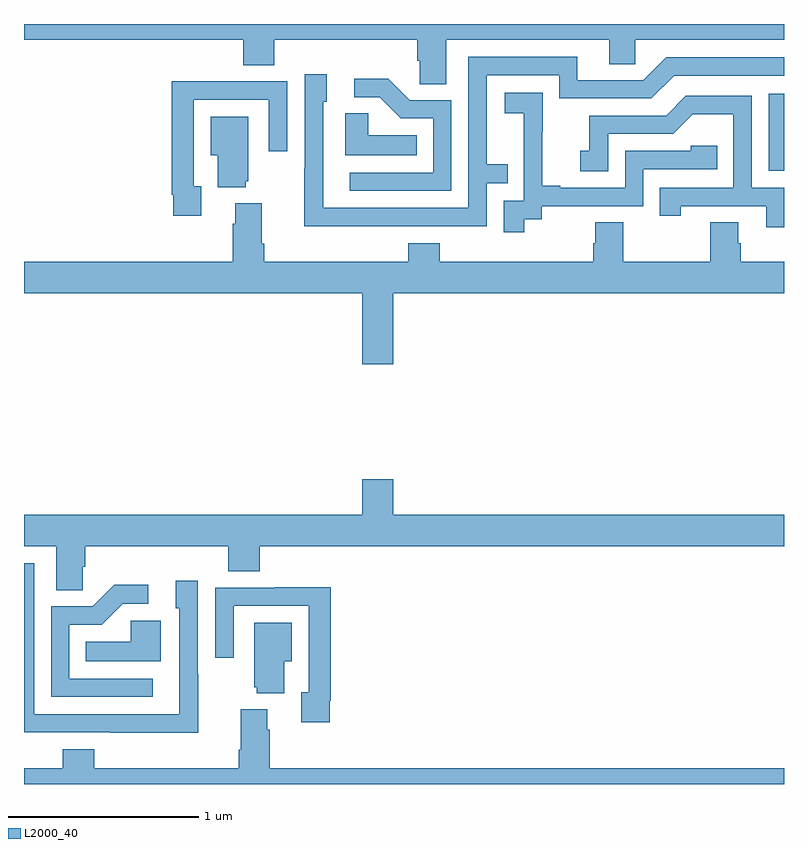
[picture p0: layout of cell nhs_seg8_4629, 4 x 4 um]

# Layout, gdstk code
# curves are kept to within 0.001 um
import gdstk
lib = gdstk.Library(unit=1e-6, precision=1e-09)
def R(c, l, rs):  # rectangles x0, y0, x1, y1
    for r in rs: c.add(gdstk.rectangle(r[:2], r[2:], *l))
def P(c, l, *ps):  # polygons
    for p in ps: c.add(gdstk.Polygon(p, *l))
L2000_40 = (2000, 40)

nhs_seg8_4629 = lib.new_cell('nhs_seg8_4629')
R(nhs_seg8_4629, L2000_40, [(394.92,1133.127,395,1133.533)])
P(nhs_seg8_4629, L2000_40, [(393.223,1133.816),(394.079,1133.816),(394.079,1133.689),(394.218,1133.689),(394.218,1133.816),(395,1133.816),(395,1133.9),(391,1133.9),(391,1133.816),(392.153,1133.816),(392.153,1133.683),(392.318,1133.683),(392.318,1133.816),(393.071,1133.816),(393.071,1133.707),(393.084,1133.707),(393.084,1133.584),(393.223,1133.584)],
  [(392.939,1132.836),(393.435,1132.836),(393.435,1133.061),(393.545,1133.061),(393.545,1133.162),(393.435,1133.162),(393.435,1133.631),(393.816,1133.631),(393.816,1133.508),(394.302,1133.508),(394.422,1133.628),(395,1133.628),(395,1133.724),(394.38,1133.724),(394.26,1133.604),(393.913,1133.604),(393.913,1133.727),(393.339,1133.727),(393.339,1132.932),(392.574,1132.932),(392.574,1133.49),(392.593,1133.49),(392.593,1133.635),(392.478,1133.635),(392.478,1133.141),(392.476,1133.141),(392.476,1132.835)],
  [(393.249,1133.499),(393.03,1133.499),(392.917,1133.612),(392.739,1133.612),(392.739,1133.514),(392.873,1133.514),(392.984,1133.403),(393.153,1133.403),(393.153,1133.118),(392.715,1133.118),(392.715,1133.022),(393.249,1133.022)],
  [(391.933,1133.046),(391.893,1133.046),(391.893,1133.502),(392.289,1133.502),(392.289,1133.229),(392.385,1133.229),(392.385,1133.598),(392.069,1133.598),(392.069,1133.6),(391.777,1133.6),(391.777,1133.002),(391.785,1133.002),(391.785,1132.89),(391.933,1132.89)],
  [(393.634,1132.873),(393.726,1132.873),(393.726,1132.941),(394.26,1132.941),(394.26,1133.136),(394.649,1133.136),(394.649,1133.259),(394.509,1133.259),(394.509,1133.232),(394.164,1133.232),(394.164,1133.037),(393.823,1133.037),(393.823,1133.05),(393.728,1133.05),(393.728,1133.333),(393.729,1133.333),(393.729,1133.539),(393.531,1133.539),(393.531,1133.429),(393.629,1133.429),(393.629,1133.201),(393.63,1133.201),(393.63,1132.971),(393.525,1132.971),(393.525,1132.803),(393.634,1132.803)],
  [(395,1133.037),(394.83,1133.037),(394.83,1133.523),(394.484,1133.523),(394.379,1133.418),(393.976,1133.418),(393.976,1133.233),(393.927,1133.233),(393.927,1133.124),(394.074,1133.124),(394.074,1133.322),(394.416,1133.322),(394.52,1133.426),(394.734,1133.426),(394.734,1133.037),(394.345,1133.037),(394.345,1132.89),(394.456,1132.89),(394.456,1132.941),(394.907,1132.941),(394.907,1132.83),(395,1132.83)],
  [(393.068,1133.314),(392.811,1133.314),(392.811,1133.429),(392.69,1133.429),(392.69,1133.21),(393.068,1133.21)],
  [(392.168,1133.073),(392.179,1133.073),(392.179,1133.413),(391.982,1133.413),(391.982,1133.21),(392.021,1133.21),(392.021,1133.042),(392.168,1133.042)],
  [(395,1132.648),(394.772,1132.648),(394.772,1132.746),(394.759,1132.746),(394.759,1132.856),(394.612,1132.856),(394.612,1132.648),(394.155,1132.648),(394.155,1132.856),(394.007,1132.856),(394.007,1132.746),(393.995,1132.746),(393.995,1132.648),(393.188,1132.648),(393.188,1132.747),(393.023,1132.747),(393.023,1132.648),(392.264,1132.648),(392.264,1132.744),(392.251,1132.744),(392.251,1132.957),(392.111,1132.957),(392.111,1132.85),(392.099,1132.85),(392.099,1132.648),(391,1132.648),(391,1132.484),(392.78,1132.484),(392.78,1132.11),(392.944,1132.11),(392.944,1132.484),(395,1132.484)],
  [(391.308,1131.043),(391.322,1131.043),(391.322,1131.152),(392.075,1131.152),(392.075,1131.019),(392.24,1131.019),(392.24,1131.152),(395,1131.152),(395,1131.316),(392.944,1131.316),(392.944,1131.505),(392.78,1131.505),(392.78,1131.316),(391,1131.316),(391,1131.152),(391.169,1131.152),(391.169,1130.92),(391.308,1130.92)],
  [(391.917,1130.477),(391.914,1130.477),(391.914,1130.971),(391.799,1130.971),(391.799,1130.826),(391.818,1130.826),(391.818,1130.522),(391.817,1130.522),(391.817,1130.268),(391.053,1130.268),(391.053,1131.063),(391,1131.063),(391,1130.172),(391.453,1130.172),(391.453,1130.171),(391.917,1130.171)],
  [(391.678,1130.454),(391.239,1130.454),(391.239,1130.739),(391.408,1130.739),(391.519,1130.85),(391.654,1130.85),(391.654,1130.948),(391.475,1130.948),(391.362,1130.835),(391.143,1130.835),(391.143,1130.358),(391.678,1130.358)],
  [(392.608,1130.338),(392.615,1130.338),(392.615,1130.936),(392.323,1130.936),(392.323,1130.934),(392.007,1130.934),(392.007,1130.565),(392.103,1130.565),(392.103,1130.838),(392.499,1130.838),(392.499,1130.382),(392.459,1130.382),(392.459,1130.226),(392.608,1130.226)],
  [(391.72,1130.758),(391.563,1130.758),(391.563,1130.65),(391.324,1130.65),(391.324,1130.546),(391.72,1130.546)],
  [(392.371,1130.546),(392.41,1130.546),(392.41,1130.749),(392.213,1130.749),(392.213,1130.409),(392.225,1130.409),(392.225,1130.378),(392.371,1130.378)],
  [(395,1129.984),(392.294,1129.984),(392.294,1130.186),(392.281,1130.186),(392.281,1130.293),(392.141,1130.293),(392.141,1130.08),(392.129,1130.08),(392.129,1129.984),(391.37,1129.984),(391.37,1130.083),(391.205,1130.083),(391.205,1129.984),(391,1129.984),(391,1129.9),(395,1129.9)])

lib.write_gds('nhs_seg8_4629.gds')
